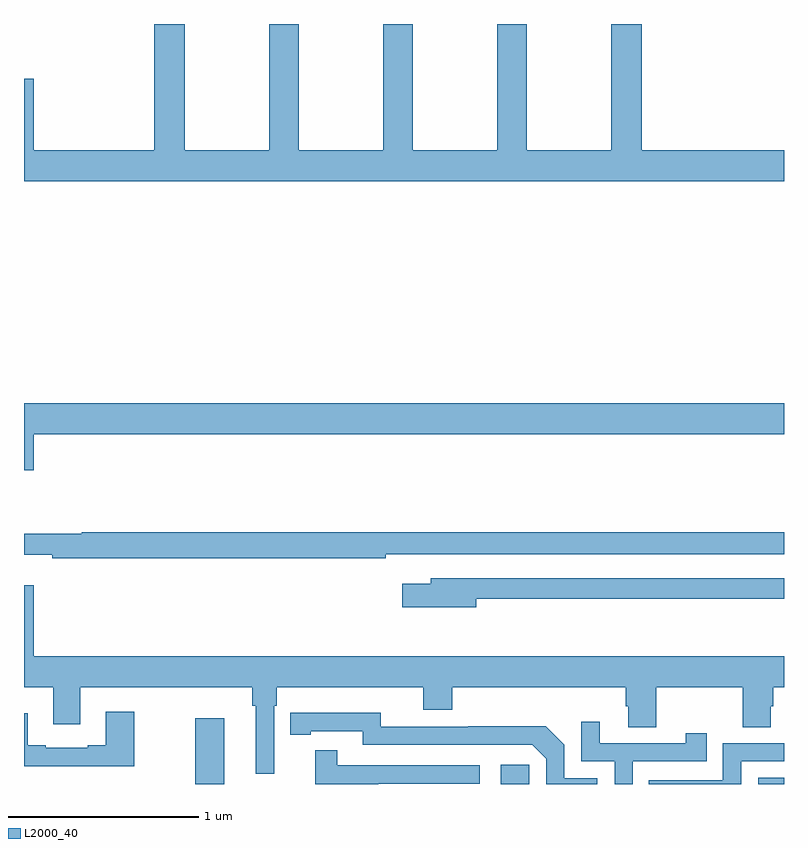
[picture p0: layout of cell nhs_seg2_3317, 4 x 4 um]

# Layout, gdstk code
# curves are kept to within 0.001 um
import gdstk
lib = gdstk.Library(unit=1e-6, precision=1e-09)
def R(c, l, rs):  # rectangles x0, y0, x1, y1
    for r in rs: c.add(gdstk.rectangle(r[:2], r[2:], *l))
def P(c, l, *ps):  # polygons
    for p in ps: c.add(gdstk.Polygon(p, *l))
L2000_40 = (2000, 40)

nhs_seg2_3317 = lib.new_cell('nhs_seg2_3317')
R(nhs_seg2_3317, L2000_40, [(285.901,641.8,286.054,642.145), (287.508,641.8,287.658,641.902), (288.864,641.8,289,641.833)])
P(nhs_seg2_3317, L2000_40, [(289,645.136),(288.251,645.136),(288.251,645.8),(288.091,645.8),(288.091,645.136),(287.646,645.136),(287.646,645.8),(287.491,645.8),(287.491,645.136),(287.046,645.136),(287.046,645.8),(286.891,645.8),(286.891,645.136),(286.446,645.136),(286.446,645.8),(286.291,645.8),(286.291,645.136),(285.846,645.136),(285.846,645.8),(285.686,645.8),(285.686,645.136),(285.052,645.136),(285.052,645.511),(285,645.511),(285,644.972),(289,644.972)],
  [(285.052,643.64),(289,643.64),(289,643.804),(285,643.804),(285,643.452),(285.052,643.452)],
  [(286.904,643.008),(289,643.008),(289,643.124),(285.305,643.124),(285.305,643.117),(285,643.117),(285,643.007),(285.148,643.007),(285.148,642.988),(286.904,642.988)],
  [(287.38,642.774),(289,642.774),(289,642.882),(287.141,642.882),(287.141,642.853),(286.992,642.853),(286.992,642.731),(287.38,642.731)],
  [(286.317,642.212),(286.331,642.212),(286.331,642.308),(287.102,642.308),(287.102,642.191),(287.255,642.191),(287.255,642.308),(288.167,642.308),(288.167,642.21),(288.179,642.21),(288.179,642.1),(288.327,642.1),(288.327,642.308),(288.784,642.308),(288.784,642.1),(288.931,642.1),(288.931,642.21),(288.944,642.21),(288.944,642.308),(289,642.308),(289,642.472),(285.052,642.472),(285.052,642.847),(285,642.847),(285,642.308),(285.155,642.308),(285.155,642.114),(285.295,642.114),(285.295,642.308),(286.201,642.308),(286.201,642.212),(286.22,642.212),(286.22,641.853),(286.317,641.853)],
  [(285.579,642.181),(285.431,642.181),(285.431,642.004),(285.335,642.004),(285.335,641.991),(285.115,641.991),(285.115,642.004),(285.019,642.004),(285.019,642.172),(285,642.172),(285,641.894),(285.579,641.894)],
  [(288.018,641.829),(287.844,641.829),(287.844,642.006),(287.746,642.104),(287.338,642.104),(287.338,642.102),(286.878,642.102),(286.878,642.175),(286.402,642.174),(286.402,642.058),(286.51,642.058),(286.51,642.078),(286.782,642.078),(286.782,642.006),(287.676,642.006),(287.748,641.934),(287.748,641.8),(288.018,641.8)],
  [(288.204,641.919),(288.593,641.919),(288.593,642.067),(288.482,642.067),(288.482,642.015),(288.031,642.015),(288.031,642.127),(287.934,642.127),(287.934,641.919),(288.108,641.919),(288.108,641.8),(288.204,641.8)],
  [(288.774,641.919),(289,641.919),(289,642.015),(288.678,642.015),(288.678,641.82),(288.289,641.82),(288.289,641.8),(288.774,641.8)],
  [(286.865,641.802),(287.398,641.802),(287.398,641.898),(286.649,641.898),(286.649,641.977),(286.532,641.977),(286.532,641.8),(286.865,641.8)])

lib.write_gds('nhs_seg2_3317.gds')
